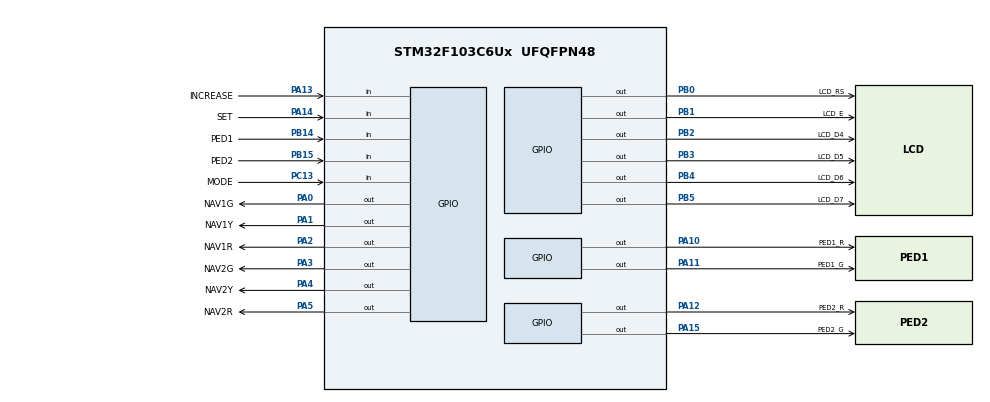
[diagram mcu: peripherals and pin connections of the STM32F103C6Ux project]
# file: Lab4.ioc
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Mcu.Family=STM32F1
Mcu.Name=STM32F103C6Ux
Mcu.Package=UFQFPN48
NVIC.PriorityGroup=NVIC_PRIORITYGROUP_4
NVIC.TIM2_IRQn=true\:0\:0\:false\:false\:true\:true\:true\:true
PA0-WKUP.GPIO_Label=NAV1G
PA0-WKUP.Signal=GPIO_Output
PA1.GPIO_Label=NAV1Y
PA1.Signal=GPIO_Output
PA10.GPIO_Label=PED1_R
PA10.Signal=GPIO_Output
PA11.GPIO_Label=PED1_G
PA11.Signal=GPIO_Output
PA12.GPIO_Label=PED2_R
PA12.Signal=GPIO_Output
PA13.GPIO_Label=INCREASE
PA13.Signal=GPIO_Input
PA14.GPIO_Label=SET
PA14.Signal=GPIO_Input
PA15.GPIO_Label=PED2_G
PA15.Signal=GPIO_Output
PA2.GPIO_Label=NAV1R
PA2.Signal=GPIO_Output
PA3.GPIO_Label=NAV2G
PA3.Signal=GPIO_Output
PA4.GPIO_Label=NAV2Y
PA4.Signal=GPIO_Output
PA5.GPIO_Label=NAV2R
PA5.Signal=GPIO_Output
PB0.GPIO_Label=LCD_RS
PB0.Signal=GPIO_Output
PB1.GPIO_Label=LCD_E
PB1.Signal=GPIO_Output
PB14.GPIO_Label=PED1
PB14.Signal=GPIO_Input
PB15.GPIO_Label=PED2
PB15.Signal=GPIO_Input
PB2.GPIO_Label=LCD_D4
PB2.Signal=GPIO_Output
PB3.GPIO_Label=LCD_D5
PB3.Signal=GPIO_Output
PB4.GPIO_Label=LCD_D6
PB4.Signal=GPIO_Output
PB5.GPIO_Label=LCD_D7
PB5.Signal=GPIO_Output
PC13-TAMPER-RTC.GPIO_Label=MODE
PC13-TAMPER-RTC.Signal=GPIO_Input
ProjectManager.HeapSize=0x200
ProjectManager.StackSize=0x400
ProjectManager.TargetToolchain=STM32CubeIDE
RCC.APB1Freq_Value=8000000
RCC.APB2Freq_Value=8000000
TIM2.Period=9
TIM2.Prescaler=7999
VP_SYS_VS_ND.Mode=No_Debug
VP_TIM2_VS_ClockSourceINT.Mode=Internal
board=custom

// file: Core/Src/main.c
/* USER CODE BEGIN Header */
/**
  ******************************************************************************
  * @file           : main.c
  * @brief          : Main program body
  ******************************************************************************
  * @attention
  *
  * Copyright (c) 2025 STMicroelectronics.
  * All rights reserved.
  *
  * This software is licensed under terms that can be found in the LICENSE file
  * in the root directory of this software component.
  * If no LICENSE file comes with this software, it is provided AS-IS.
  *
  ******************************************************************************
  */
/* USER CODE END Header */
#include "main.h"

/* USER CODE BEGIN Includes */
#include "scheduler.h"
#include "fsm.h"
#include "button.h"
#include "lcd_parallel.h"
/* USER CODE END Includes */

TIM_HandleTypeDef htim2;

void SystemClock_Config(void);
static void MX_GPIO_Init(void);
static void MX_TIM2_Init(void);

int main(void)
{
  /* USER CODE BEGIN 1 */
  /* KHÔNG làm gì với LCD/GPIO ở đây – lúc này HAL/GPIO chưa init */
  /* USER CODE END 1 */

  /* MCU Configuration--------------------------------------------------------*/

  /* Reset of all peripherals, Initializes the Flash interface and the Systick. */
  HAL_Init();

  /* Configure the system clock */
  SystemClock_Config();

  /* Initialize all configured peripherals */
  MX_GPIO_Init();
  MX_TIM2_Init();
  /* USER CODE BEGIN 2 */

  // Bắt đầu timer interrupt mỗi 10ms
  HAL_TIM_Base_Start_IT(&htim2);

  // Init scheduler
  SCH_Init();

  // Init LCD sau khi GPIO đã được cấu hình
  LCD_Init();
  LCD_Clear();
  LCD_Send_String("TRAFFIC SYSTEM");
  HAL_Delay(700);
  LCD_Clear();

  // Init hệ người đi bộ
  Pedestrian_Init();

  // Đăng ký task
  SCH_Add_Task(Task_Button_Read, 0, 1);      // đọc nút mỗi 10ms
  SCH_Add_Task(Task_FSM,        0, 100);     // FSM mỗi 100ms
  SCH_Add_Task(Task_BlinkLED,   250, 50);    // blink theo mode

  // Trạng thái ban đầu: R1, G2
  enterState(AUTO_R1_G2, 1,0,0, 0,0,1);

  /* USER CODE END 2 */

  /* Infinite loop */
  while (1)
  {

    /* USER CODE BEGIN 3 */
    SCH_Dispatch_Tasks();
  }
  /* USER CODE END 3 */
}

void SystemClock_Config(void)
{
  RCC_OscInitTypeDef RCC_OscInitStruct = {0};
  RCC_ClkInitTypeDef RCC_ClkInitStruct = {0};

  /** Initializes the RCC Oscillators according to the specified parameters
  * in the RCC_OscInitTypeDef structure.
  */
  RCC_OscInitStruct.OscillatorType = RCC_OSCILLATORTYPE_HSI;
  RCC_OscInitStruct.HSIState = RCC_HSI_ON;
  RCC_OscInitStruct.HSICalibrationValue = RCC_HSICALIBRATION_DEFAULT;
  RCC_OscInitStruct.PLL.PLLState = RCC_PLL_NONE;
  if (HAL_RCC_OscConfig(&RCC_OscInitStruct) != HAL_OK)
  {
    Error_Handler();
  }

  /** Initializes the CPU, AHB and APB buses clocks
  */
  RCC_ClkInitStruct.ClockType = RCC_CLOCKTYPE_HCLK|RCC_CLOCKTYPE_SYSCLK
                              |RCC_CLOCKTYPE_PCLK1|RCC_CLOCKTYPE_PCLK2;
  RCC_ClkInitStruct.SYSCLKSource = RCC_SYSCLKSOURCE_HSI;
  RCC_ClkInitStruct.AHBCLKDivider = RCC_SYSCLK_DIV1;
  RCC_ClkInitStruct.APB1CLKDivider = RCC_HCLK_DIV1;
  RCC_ClkInitStruct.APB2CLKDivider = RCC_HCLK_DIV1;

  if (HAL_RCC_ClockConfig(&RCC_ClkInitStruct, FLASH_LATENCY_0) != HAL_OK)
  {
    Error_Handler();
  }
}

static void MX_TIM2_Init(void)
{

  TIM_ClockConfigTypeDef sClockSourceConfig = {0};
  TIM_MasterConfigTypeDef sMasterConfig = {0};

  htim2.Instance = TIM2;
  htim2.Init.Prescaler = 7999;
  htim2.Init.CounterMode = TIM_COUNTERMODE_UP;
  htim2.Init.Period = 9;
  htim2.Init.ClockDivision = TIM_CLOCKDIVISION_DIV1;
  htim2.Init.AutoReloadPreload = TIM_AUTORELOAD_PRELOAD_DISABLE;
  if (HAL_TIM_Base_Init(&htim2) != HAL_OK)
  {
    Error_Handler();
  }
  sClockSourceConfig.ClockSource = TIM_CLOCKSOURCE_INTERNAL;
  if (HAL_TIM_ConfigClockSource(&htim2, &sClockSourceConfig) != HAL_OK)
  {
    Error_Handler();
  }
  sMasterConfig.MasterOutputTrigger = TIM_TRGO_RESET;
  sMasterConfig.MasterSlaveMode = TIM_MASTERSLAVEMODE_DISABLE;
  if (HAL_TIMEx_MasterConfigSynchronization(&htim2, &sMasterConfig) != HAL_OK)
  {
    Error_Handler();
  }

}

static void MX_GPIO_Init(void)
{
  GPIO_InitTypeDef GPIO_InitStruct = {0};

  /* GPIO Ports Clock Enable */
  __HAL_RCC_GPIOC_CLK_ENABLE();
  __HAL_RCC_GPIOA_CLK_ENABLE();
  __HAL_RCC_GPIOB_CLK_ENABLE();

  /*Configure GPIO pin Output Level */
  HAL_GPIO_WritePin(GPIOA, NAV1G_Pin|NAV1Y_Pin|NAV1R_Pin|NAV2G_Pin
                          |NAV2Y_Pin|NAV2R_Pin|PED1_R_Pin|PED1_G_Pin
                          |PED2_R_Pin|PED2_G_Pin, GPIO_PIN_RESET);

  /*Configure GPIO pin Output Level */
  HAL_GPIO_WritePin(GPIOB, LCD_RS_Pin|LCD_E_Pin|LCD_D4_Pin|LCD_D5_Pin
                          |LCD_D6_Pin|LCD_D7_Pin, GPIO_PIN_RESET);

  /*Configure GPIO pin : MODE_Pin */
  GPIO_InitStruct.Pin = MODE_Pin;
  GPIO_InitStruct.Mode = GPIO_MODE_INPUT;
  GPIO_InitStruct.Pull = GPIO_NOPULL;
  HAL_GPIO_Init(MODE_GPIO_Port, &GPIO_InitStruct);

  /*Configure GPIO pins : NAV1G_Pin NAV1Y_Pin NAV1R_Pin NAV2G_Pin
                           NAV2Y_Pin NAV2R_Pin PED1_R_Pin PED1_G_Pin
                           PED2_R_Pin PED2_G_Pin */
  GPIO_InitStruct.Pin = NAV1G_Pin|NAV1Y_Pin|NAV1R_Pin|NAV2G_Pin
                          |NAV2Y_Pin|NAV2R_Pin|PED1_R_Pin|PED1_G_Pin
                          |PED2_R_Pin|PED2_G_Pin;
  GPIO_InitStruct.Mode = GPIO_MODE_OUTPUT_PP;
  GPIO_InitStruct.Pull = GPIO_NOPULL;
  GPIO_InitStruct.Speed = GPIO_SPEED_FREQ_LOW;
  HAL_GPIO_Init(GPIOA, &GPIO_InitStruct);

  /*Configure GPIO pins : LCD_RS_Pin LCD_E_Pin LCD_D4_Pin LCD_D5_Pin
                           LCD_D6_Pin LCD_D7_Pin */
  GPIO_InitStruct.Pin = LCD_RS_Pin|LCD_E_Pin|LCD_D4_Pin|LCD_D5_Pin
                          |LCD_D6_Pin|LCD_D7_Pin;
  GPIO_InitStruct.Mode = GPIO_MODE_OUTPUT_PP;
  GPIO_InitStruct.Pull = GPIO_NOPULL;
  GPIO_InitStruct.Speed = GPIO_SPEED_FREQ_LOW;
  HAL_GPIO_Init(GPIOB, &GPIO_InitStruct);

  /*Configure GPIO pins : PED1_Pin PED2_Pin */
  GPIO_InitStruct.Pin = PED1_Pin|PED2_Pin;
  GPIO_InitStruct.Mode = GPIO_MODE_INPUT;
  GPIO_InitStruct.Pull = GPIO_NOPULL;
  HAL_GPIO_Init(GPIOB, &GPIO_InitStruct);

  /*Configure GPIO pins : INCREASE_Pin SET_Pin */
  GPIO_InitStruct.Pin = INCREASE_Pin|SET_Pin;
  GPIO_InitStruct.Mode = GPIO_MODE_INPUT;
  GPIO_InitStruct.Pull = GPIO_NOPULL;
  HAL_GPIO_Init(GPIOA, &GPIO_InitStruct);

}

/* USER CODE BEGIN 4 */
void HAL_TIM_PeriodElapsedCallback(TIM_HandleTypeDef *htim)
{
  // Nếu sau này dùng nhiều timer thì check:
  // if (htim->Instance == TIM2) { ... }
  SCH_Update();     // TICK = 10 ms
}
/* USER CODE END 4 */

void Error_Handler(void)
{
  __disable_irq();
  while (1)
  {
  }
}
